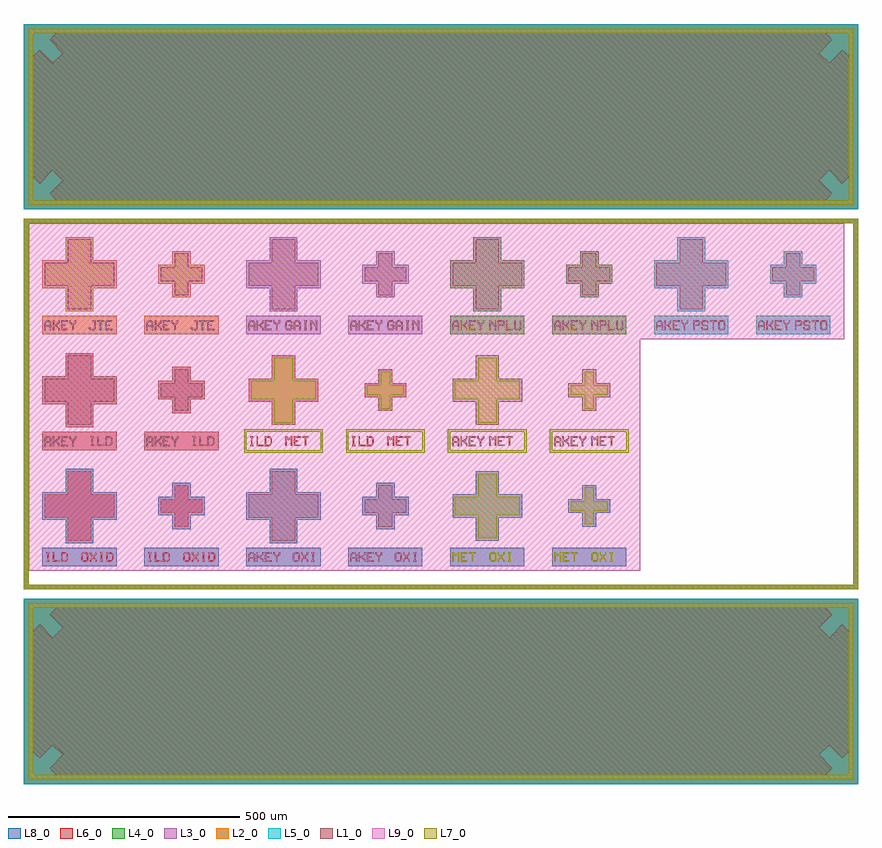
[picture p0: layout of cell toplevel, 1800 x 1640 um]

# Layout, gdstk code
import gdstk
lib = gdstk.Library(unit=1e-6, precision=1e-09)
def R(c, l, rs):  # rectangles x0, y0, x1, y1
    for r in rs: c.add(gdstk.rectangle(r[:2], r[2:], *l))
def A(c, l, x, y, w, h, nx, ny, dx, dy):  # array of equal rectangles
    R(c, l, [(x+i*dx, y+j*dy, x+i*dx+w, y+j*dy+h) for i in range(nx) for j in range(ny)])
def P(c, l, *ps):  # polygons
    for p in ps: c.add(gdstk.Polygon(p, *l))
L1_0 = (1, 0)
L2_0 = (2, 0)
L3_0 = (3, 0)
L4_0 = (4, 0)
L5_0 = (5, 0)
L6_0 = (6, 0)
L7_0 = (7, 0)
L8_0 = (8, 0)
L9_0 = (9, 0)

text_7 = lib.new_cell('TEXT$7')
P(text_7, L1_0, [(3,0),(0,3),(0,6),(3,6),(3,4.5),(4.5,3),(10.5,3),(12,4.5),(12,18),(9,18),(9,21),(15,21),(15,3),(12,0)],
  [(24,0),(24,18),(18,18),(18,21),(33,21),(33,18),(27,18),(27,0)],
  [(36,0),(36,21),(51,21),(51,18),(39,18),(39,12),(45,12),(45,9),(39,9),(39,3),(51,3),(51,0)])

text_20 = lib.new_cell('TEXT$20')
P(text_20, L1_0, [(3,0),(0,3),(0,18),(3,21),(12,21),(15,18),(15,10.5),(12,10.5),(12,16.5),(10.5,18),(4.5,18),(3,16.5),(3,4.5),(4.5,3),(10.5,3),(12,4.5),(12,10.5),(15,10.5),(15,3),(12,0)],
  [(18,0),(18,4.5),(22.5,9),(22.5,12),(18,16.5),(18,21),(21,21),(21,18),(25.5,13.5),(30,18),(30,21),(33,21),(33,16.5),(28.5,12),(28.5,9),(33,4.5),(33,0),(30,0),(30,3),(25.5,7.5),(21,3),(21,0)],
  [(40.5,0),(40.5,3),(42,3),(42,18),(40.5,18),(40.5,21),(46.5,21),(46.5,18),(45,18),(45,3),(46.5,3),(46.5,0)])

text_1 = lib.new_cell('TEXT$1')
P(text_1, L1_0, [(4.5,0),(4.5,3),(6,3),(6,18),(4.5,18),(4.5,21),(10.5,21),(10.5,18),(9,18),(9,3),(10.5,3),(10.5,0)],
  [(18,0),(18,21),(21,21),(21,3),(33,3),(33,0)],
  [(36,0),(36,21),(46.5,21),(49.5,18),(39,18),(39,3),(45,3),(48,6),(48,15),(45,18),(49.5,18),(51,16.5),(51,4.5),(46.5,0)])

text_21 = lib.new_cell('TEXT$21')
P(text_21, L1_0, [(0,0),(0,21),(3,21),(6,18),(9,18),(12,21),(15,21),(15,0),(12,0),(12,15),(10.5,15),(7.5,12),(4.5,15),(3,15),(3,0)],
  [(18,0),(18,21),(33,21),(33,18),(21,18),(21,12),(27,12),(27,9),(21,9),(21,3),(33,3),(33,0)],
  [(42,0),(42,18),(36,18),(36,21),(51,21),(51,18),(45,18),(45,0)])

text_6 = lib.new_cell('TEXT$6')
P(text_6, L1_0, [(0,0),(0,21),(12,21),(15,18),(15,12),(12,9),(3,9),(3,12),(10.5,12),(12,13.5),(12,16.5),(10.5,18),(3,18),(3,0)],
  [(21,0),(18,3),(18,6),(21,6),(21,4.5),(22.5,3),(28.5,3),(30,4.5),(30,7.5),(28.5,9),(21,9),(18,12),(18,18),(21,21),(30,21),(33,18),(33,15),(30,15),(30,16.5),(28.5,18),(22.5,18),(21,16.5),(21,13.5),(22.5,12),(30,12),(33,9),(33,3),(30,0)],
  [(42,0),(42,18),(36,18),(36,21),(51,21),(51,18),(45,18),(45,0)],
  [(57,0),(54,3),(54,18),(57,21),(66,21),(69,18),(69,10.5),(66,10.5),(66,16.5),(64.5,18),(58.5,18),(57,16.5),(57,4.5),(58.5,3),(64.5,3),(66,4.5),(66,10.5),(69,10.5),(69,3),(66,0)])

text_5 = lib.new_cell('TEXT$5')
P(text_5, L1_0, [(0,0),(0,21),(3,21),(10.5,13.5),(12,13.5),(12,21),(15,21),(15,0),(12,0),(12,7.5),(4.5,15),(3,15),(3,0)],
  [(18,0),(18,21),(30,21),(33,18),(33,12),(30,9),(21,9),(21,12),(28.5,12),(30,13.5),(30,16.5),(28.5,18),(21,18),(21,0)],
  [(36,0),(36,21),(39,21),(39,3),(51,3),(51,0)],
  [(57,0),(54,3),(54,21),(57,21),(57,4.5),(58.5,3),(64.5,3),(66,4.5),(66,21),(69,21),(69,3),(66,0)])

text_4 = lib.new_cell('TEXT$4')
P(text_4, L1_0, [(3,0),(0,3),(0,18),(3,21),(12,21),(15,18),(15,15),(12,15),(12,16.5),(10.5,18),(4.5,18),(3,16.5),(3,4.5),(4.5,3),(10.5,3),(12,4.5),(12,9),(7.5,9),(7.5,12),(15,12),(15,3),(12,0)],
  [(18,0),(18,16.5),(22.5,21),(28.5,21),(31.5,18),(24,18),(21,15),(21,10.5),(30,10.5),(30,15),(27,18),(31.5,18),(33,16.5),(33,0),(30,0),(30,7.5),(21,7.5),(21,0)],
  [(40.5,0),(40.5,3),(42,3),(42,18),(40.5,18),(40.5,21),(46.5,21),(46.5,18),(45,18),(45,3),(46.5,3),(46.5,0)],
  [(54,0),(54,21),(57,21),(64.5,13.5),(66,13.5),(66,21),(69,21),(69,0),(66,0),(66,7.5),(58.5,15),(57,15),(57,0)])

text_16 = lib.new_cell('TEXT$16')
P(text_16, L6_0, [(3,0),(0,3),(0,18),(3,21),(12,21),(15,18),(15,10.5),(12,10.5),(12,16.5),(10.5,18),(4.5,18),(3,16.5),(3,4.5),(4.5,3),(10.5,3),(12,4.5),(12,10.5),(15,10.5),(15,3),(12,0)],
  [(18,0),(18,4.5),(22.5,9),(22.5,12),(18,16.5),(18,21),(21,21),(21,18),(25.5,13.5),(30,18),(30,21),(33,21),(33,16.5),(28.5,12),(28.5,9),(33,4.5),(33,0),(30,0),(30,3),(25.5,7.5),(21,3),(21,0)],
  [(40.5,0),(40.5,3),(42,3),(42,18),(40.5,18),(40.5,21),(46.5,21),(46.5,18),(45,18),(45,3),(46.5,3),(46.5,0)],
  [(54,0),(54,21),(64.5,21),(67.5,18),(57,18),(57,3),(63,3),(66,6),(66,15),(63,18),(67.5,18),(69,16.5),(69,4.5),(64.5,0)])

text = lib.new_cell('TEXT')
P(text, L6_0, [(4.5,0),(4.5,3),(6,3),(6,18),(4.5,18),(4.5,21),(10.5,21),(10.5,18),(9,18),(9,3),(10.5,3),(10.5,0)],
  [(18,0),(18,21),(21,21),(21,3),(33,3),(33,0)],
  [(36,0),(36,21),(46.5,21),(49.5,18),(39,18),(39,3),(45,3),(48,6),(48,15),(45,18),(49.5,18),(51,16.5),(51,4.5),(46.5,0)])

text_22 = lib.new_cell('TEXT$22')
P(text_22, L6_0, [(0,0),(0,21),(3,21),(6,18),(9,18),(12,21),(15,21),(15,0),(12,0),(12,15),(10.5,15),(7.5,12),(4.5,15),(3,15),(3,0)],
  [(18,0),(18,21),(33,21),(33,18),(21,18),(21,12),(27,12),(27,9),(21,9),(21,3),(33,3),(33,0)],
  [(42,0),(42,18),(36,18),(36,21),(51,21),(51,18),(45,18),(45,0)])

text_25 = lib.new_cell('TEXT$25')
P(text_25, L7_0, [(3,0),(0,3),(0,18),(3,21),(12,21),(15,18),(15,10.5),(12,10.5),(12,16.5),(10.5,18),(4.5,18),(3,16.5),(3,4.5),(4.5,3),(10.5,3),(12,4.5),(12,10.5),(15,10.5),(15,3),(12,0)],
  [(18,0),(18,4.5),(22.5,9),(22.5,12),(18,16.5),(18,21),(21,21),(21,18),(25.5,13.5),(30,18),(30,21),(33,21),(33,16.5),(28.5,12),(28.5,9),(33,4.5),(33,0),(30,0),(30,3),(25.5,7.5),(21,3),(21,0)],
  [(40.5,0),(40.5,3),(42,3),(42,18),(40.5,18),(40.5,21),(46.5,21),(46.5,18),(45,18),(45,3),(46.5,3),(46.5,0)])

text_23 = lib.new_cell('TEXT$23')
P(text_23, L7_0, [(0,0),(0,21),(3,21),(6,18),(9,18),(12,21),(15,21),(15,0),(12,0),(12,15),(10.5,15),(7.5,12),(4.5,15),(3,15),(3,0)],
  [(18,0),(18,21),(33,21),(33,18),(21,18),(21,12),(27,12),(27,9),(21,9),(21,3),(33,3),(33,0)],
  [(42,0),(42,18),(36,18),(36,21),(51,21),(51,18),(45,18),(45,0)])

text_2 = lib.new_cell('TEXT$2')
P(text_2, L1_0, [(0,0),(0,16.5),(4.5,21),(10.5,21),(13.5,18),(6,18),(3,15),(3,10.5),(12,10.5),(12,15),(9,18),(13.5,18),(15,16.5),(15,0),(12,0),(12,7.5),(3,7.5),(3,0)],
  [(18,0),(18,21),(21,21),(21,12),(24,12),(30,18),(30,21),(33,21),(33,16.5),(27,10.5),(33,4.5),(33,0),(30,0),(30,3),(24,9),(21,9),(21,0)],
  [(36,0),(36,21),(51,21),(51,18),(39,18),(39,12),(45,12),(45,9),(39,9),(39,3),(51,3),(51,0)],
  [(60,0),(60,10.5),(54,16.5),(54,21),(57,21),(57,18),(61.5,13.5),(66,18),(66,21),(69,21),(69,16.5),(63,10.5),(63,0)])

toplevel = lib.new_cell('toplevel')
P(toplevel, L1_0, [(-805,205),(-805,255),(-855,255),(-855,305),(-805,305),(-805,355),(-755,355),(-755,305),(-705,305),(-705,255),(-755,255),(-755,205)],
  [(-900,-400),(-900,390),(-890,390),(-890,-390),(890,-390),(890,390),(-900,390),(-900,400),(900,400),(900,-400)],
  [(-575,235),(-575,265),(-605,265),(-605,295),(-575,295),(-575,325),(-545,325),(-545,295),(-515,295),(-515,265),(-545,265),(-545,235)],
  [(-365,205),(-365,255),(-415,255),(-415,305),(-365,305),(-365,355),(-315,355),(-315,305),(-265,305),(-265,255),(-315,255),(-315,205)],
  [(-135,235),(-135,265),(-165,265),(-165,295),(-135,295),(-135,325),(-105,325),(-105,295),(-75,295),(-75,265),(-105,265),(-105,235)],
  [(75,205),(75,255),(25,255),(25,305),(75,305),(75,355),(125,355),(125,305),(175,305),(175,255),(125,255),(125,205)],
  [(305,235),(305,265),(275,265),(275,295),(305,295),(305,325),(335,325),(335,295),(365,295),(365,265),(335,265),(335,235)],
  [(515,205),(515,255),(465,255),(465,305),(515,305),(515,355),(565,355),(565,305),(615,305),(615,255),(565,255),(565,205)],
  [(745,235),(745,265),(715,265),(715,295),(745,295),(745,325),(775,325),(775,295),(805,295),(805,265),(775,265),(775,235)],
  [(305,-15),(305,15),(275,15),(275,45),(305,45),(305,75),(335,75),(335,45),(365,45),(365,15),(335,15),(335,-15)],
  [(75,-45),(75,5),(25,5),(25,55),(75,55),(75,105),(125,105),(125,55),(175,55),(175,5),(125,5),(125,-45)],
  [(-135,-265),(-135,-235),(-165,-235),(-165,-205),(-135,-205),(-135,-175),(-105,-175),(-105,-205),(-75,-205),(-75,-235),(-105,-235),(-105,-265)],
  [(-365,-295),(-365,-245),(-415,-245),(-415,-195),(-365,-195),(-365,-145),(-315,-145),(-315,-195),(-265,-195),(-265,-245),(-315,-245),(-315,-295)],
  [(-575,-15),(-575,15),(-605,15),(-605,45),(-575,45),(-575,75),(-545,75),(-545,45),(-515,45),(-515,15),(-545,15),(-545,-15)],
  [(-805,-45),(-805,5),(-855,5),(-855,55),(-805,55),(-805,105),(-755,105),(-755,55),(-705,55),(-705,5),(-755,5),(-755,-45)],
  [(-890,-810),(-890,-736.109),(-837.322,-736.109),(-865.607,-764.394),(-880,-750),(-880,-800),(-830,-800),(-844.393,-785.607),(-816.109,-757.322),(-837.322,-736.109),(837.323,-736.109),(816.109,-757.322),(844.393,-785.607),(830,-800),(880,-800),(880,-750),(865.607,-764.393),(837.323,-736.109),(-890,-736.109),(-890,-440),(-880,-440),(-880,-490),(-865.606,-475.606),(-837.322,-503.891),(-816.109,-482.678),(-844.393,-454.393),(-830,-440),(830,-440),(844.393,-454.394),(816.109,-482.678),(837.323,-503.891),(865.607,-475.607),(880,-490),(880,-440),(-890,-440),(-890,-430),(890,-430),(890,-810)],
  [(-890,430),(-890,503.891),(-837.322,503.891),(-865.607,475.606),(-880,490),(-880,440),(-830,440),(-844.393,454.393),(-816.109,482.678),(-837.322,503.891),(837.323,503.891),(816.109,482.678),(844.393,454.393),(830,440),(880,440),(880,490),(865.607,475.607),(837.323,503.891),(-890,503.891),(-890,800),(-880,800),(-880,750),(-865.606,764.394),(-837.322,736.109),(-816.109,757.322),(-844.393,785.607),(-830,800),(830,800),(844.393,785.606),(816.109,757.322),(837.323,736.109),(865.607,764.393),(880,750),(880,800),(-890,800),(-890,810),(890,810),(890,430)])
R(toplevel, L2_0, [(-900,-820,900,-420), (-860,150,-700,190), (-640,150,-480,190), (-900,420,900,820)])
P(toplevel, L2_0, [(-580,230),(-580,260),(-610,260),(-610,300),(-580,300),(-580,330),(-540,330),(-540,300),(-510,300),(-510,260),(-540,260),(-540,230)],
  [(-810,200),(-810,250),(-860,250),(-860,310),(-810,310),(-810,360),(-750,360),(-750,310),(-700,310),(-700,250),(-750,250),(-750,200)],
  [(-900,-400),(-900,390),(-890,390),(-890,-390),(890,-390),(890,390),(-900,390),(-900,400),(900,400),(900,-400)])
R(toplevel, L3_0, [(-900,-820,900,-420), (-420,150,-260,190), (-200,150,-40,190), (-900,420,900,820)])
P(toplevel, L3_0, [(-140,230),(-140,260),(-170,260),(-170,300),(-140,300),(-140,330),(-100,330),(-100,300),(-70,300),(-70,260),(-100,260),(-100,230)],
  [(-370,200),(-370,250),(-420,250),(-420,310),(-370,310),(-370,360),(-310,360),(-310,310),(-260,310),(-260,250),(-310,250),(-310,200)],
  [(-900,-400),(-900,390),(-890,390),(-890,-390),(890,-390),(890,390),(-900,390),(-900,400),(900,400),(900,-400)])
R(toplevel, L4_0, [(-900,-820,900,-420), (20,150,180,190), (240,150,400,190), (-900,420,900,820)])
P(toplevel, L4_0, [(300,230),(300,260),(270,260),(270,300),(300,300),(300,330),(340,330),(340,300),(370,300),(370,260),(340,260),(340,230)],
  [(70,200),(70,250),(20,250),(20,310),(70,310),(70,360),(130,360),(130,310),(180,310),(180,250),(130,250),(130,200)],
  [(-900,-400),(-900,390),(-890,390),(-890,-390),(890,-390),(890,390),(-900,390),(-900,400),(900,400),(900,-400)])
R(toplevel, L5_0, [(-900,-820,900,-420), (460,150,620,190), (680,150,840,190), (-900,420,900,820)])
P(toplevel, L5_0, [(740,230),(740,260),(710,260),(710,300),(740,300),(740,330),(780,330),(780,300),(810,300),(810,260),(780,260),(780,230)],
  [(510,200),(510,250),(460,250),(460,310),(510,310),(510,360),(570,360),(570,310),(620,310),(620,250),(570,250),(570,200)],
  [(-900,-400),(-900,390),(-890,390),(-890,-390),(890,-390),(890,390),(-900,390),(-900,400),(900,400),(900,-400)])
R(toplevel, L6_0, [(-900,-820,900,-420), (-860,-100,-700,-60), (-640,-100,-480,-60), (-900,420,900,820)])
P(toplevel, L6_0, [(-575,-265),(-575,-235),(-605,-235),(-605,-205),(-575,-205),(-575,-175),(-545,-175),(-545,-205),(-515,-205),(-515,-235),(-545,-235),(-545,-265)],
  [(-805,-295),(-805,-245),(-855,-245),(-855,-195),(-805,-195),(-805,-145),(-755,-145),(-755,-195),(-705,-195),(-705,-245),(-755,-245),(-755,-295)],
  [(-135,-15),(-135,15),(-165,15),(-165,45),(-135,45),(-135,75),(-105,75),(-105,45),(-75,45),(-75,15),(-105,15),(-105,-15)],
  [(-580,-20),(-580,10),(-610,10),(-610,50),(-580,50),(-580,80),(-540,80),(-540,50),(-510,50),(-510,10),(-540,10),(-540,-20)],
  [(-365,-45),(-365,5),(-415,5),(-415,55),(-365,55),(-365,105),(-315,105),(-315,55),(-265,55),(-265,5),(-315,5),(-315,-45)],
  [(-810,-50),(-810,0),(-860,0),(-860,60),(-810,60),(-810,110),(-750,110),(-750,60),(-700,60),(-700,0),(-750,0),(-750,-50)],
  [(-900,-400),(-900,390),(-890,390),(-890,-390),(890,-390),(890,390),(-900,390),(-900,400),(900,400),(900,-400)])
P(toplevel, L7_0, [(-900,-400),(-900,390),(-890,390),(-890,-390),(890,-390),(890,390),(-900,390),(-900,400),(900,400),(900,-400)],
  [(310,-260),(310,-230),(280,-230),(280,-210),(310,-210),(310,-180),(330,-180),(330,-210),(360,-210),(360,-230),(330,-230),(330,-260)],
  [(80,-290),(80,-240),(30,-240),(30,-200),(80,-200),(80,-150),(120,-150),(120,-200),(170,-200),(170,-240),(120,-240),(120,-290)],
  [(-425,-105),(-425,-60),(-420,-60),(-420,-100),(-260,-100),(-260,-60),(-425,-60),(-425,-55),(-255,-55),(-255,-105)],
  [(-205,-105),(-205,-60),(-200,-60),(-200,-100),(-40,-100),(-40,-60),(-205,-60),(-205,-55),(-35,-55),(-35,-105)],
  [(15,-105),(15,-60),(20,-60),(20,-100),(180,-100),(180,-60),(15,-60),(15,-55),(185,-55),(185,-105)],
  [(235,-105),(235,-60),(240,-60),(240,-100),(400,-100),(400,-60),(235,-60),(235,-55),(405,-55),(405,-105)],
  [(-130,-10),(-130,20),(-160,20),(-160,40),(-130,40),(-130,70),(-110,70),(-110,40),(-80,40),(-80,20),(-110,20),(-110,-10)],
  [(310,-10),(310,20),(280,20),(280,40),(310,40),(310,70),(330,70),(330,40),(360,40),(360,20),(330,20),(330,-10)],
  [(-360,-40),(-360,10),(-410,10),(-410,50),(-360,50),(-360,100),(-320,100),(-320,50),(-270,50),(-270,10),(-320,10),(-320,-40)],
  [(80,-40),(80,10),(30,10),(30,50),(80,50),(80,100),(120,100),(120,50),(170,50),(170,10),(120,10),(120,-40)],
  [(-890,430),(-890,800),(-880,800),(-880,440),(880,440),(880,800),(-890,800),(-890,810),(890,810),(890,430)],
  [(-890,-810),(-890,-440),(-880,-440),(-880,-800),(880,-800),(880,-440),(-890,-440),(-890,-430),(890,-430),(890,-810)])
A(toplevel, L8_0, -860, -350, 160, 40, 6, 1, 220, 0)
R(toplevel, L8_0, [(-900,-820,900,-420), (-900,420,900,820)])
P(toplevel, L8_0, [(-900,-400),(-900,390),(-890,390),(-890,-390),(890,-390),(890,390),(-900,390),(-900,400),(900,400),(900,-400)],
  [(305,-265),(305,-235),(275,-235),(275,-205),(305,-205),(305,-175),(335,-175),(335,-205),(365,-205),(365,-235),(335,-235),(335,-265)],
  [(-580,-270),(-580,-240),(-610,-240),(-610,-200),(-580,-200),(-580,-170),(-540,-170),(-540,-200),(-510,-200),(-510,-240),(-540,-240),(-540,-270)],
  [(-140,-270),(-140,-240),(-170,-240),(-170,-200),(-140,-200),(-140,-170),(-100,-170),(-100,-200),(-70,-200),(-70,-240),(-100,-240),(-100,-270)],
  [(75,-295),(75,-245),(25,-245),(25,-195),(75,-195),(75,-145),(125,-145),(125,-195),(175,-195),(175,-245),(125,-245),(125,-295)],
  [(-810,-300),(-810,-250),(-860,-250),(-860,-190),(-810,-190),(-810,-140),(-750,-140),(-750,-190),(-700,-190),(-700,-250),(-750,-250),(-750,-300)],
  [(-370,-300),(-370,-250),(-420,-250),(-420,-190),(-370,-190),(-370,-140),(-310,-140),(-310,-190),(-260,-190),(-260,-250),(-310,-250),(-310,-300)])
A(toplevel, L9_0, -890, -360, 220, 250, 6, 2, 220, 250)
A(toplevel, L9_0, -890, 140, 220, 250, 8, 1, 220, 0)
toplevel.add(gdstk.Reference(text_7, (-759.964,159.371)))
toplevel.add(gdstk.Reference(text_7, (-539.964,159.371)))
toplevel.add(gdstk.Reference(text_20, (-99.964,-340.629)))
toplevel.add(gdstk.Reference(text_20, (-319.964,-340.629)))
toplevel.add(gdstk.Reference(text_1, (-539.964,-90.629)))
toplevel.add(gdstk.Reference(text_21, (324.097,-90.629)))
toplevel.add(gdstk.Reference(text_21, (104.097,-90.629)))
toplevel.add(gdstk.Reference(text_1, (-759.964,-90.629)))
toplevel.add(gdstk.Reference(text_6, (764.097,159.371)))
toplevel.add(gdstk.Reference(text_6, (544.097,159.371)))
toplevel.add(gdstk.Reference(text_5, (324.097,159.371)))
toplevel.add(gdstk.Reference(text_5, (104.097,159.371)))
toplevel.add(gdstk.Reference(text_4, (-115.903,159.371)))
toplevel.add(gdstk.Reference(text_4, (-335.903,159.371)))
toplevel.add(gdstk.Reference(text_16, (-555.903,-340.629)))
toplevel.add(gdstk.Reference(text, (-635.907,-340.67)))
toplevel.add(gdstk.Reference(text_16, (-775.903,-340.629)))
toplevel.add(gdstk.Reference(text, (-855.907,-340.67)))
toplevel.add(gdstk.Reference(text_22, (-115.903,-90.629)))
toplevel.add(gdstk.Reference(text, (-195.907,-90.67)))
toplevel.add(gdstk.Reference(text, (-415.907,-90.67)))
toplevel.add(gdstk.Reference(text_25, (324.097,-340.629)))
toplevel.add(gdstk.Reference(text_23, (244.093,-340.67)))
toplevel.add(gdstk.Reference(text_25, (104.097,-340.629)))
toplevel.add(gdstk.Reference(text_23, (24.093,-340.67)))
toplevel.add(gdstk.Reference(text_2, (-855.907,159.33)))
toplevel.add(gdstk.Reference(text_2, (-635.907,159.33)))
toplevel.add(gdstk.Reference(text_2, (-195.907,-340.67)))
toplevel.add(gdstk.Reference(text_2, (-415.907,-340.67)))
toplevel.add(gdstk.Reference(text_2, (244.093,-90.67)))
toplevel.add(gdstk.Reference(text_2, (24.093,-90.67)))
toplevel.add(gdstk.Reference(text_2, (-635.907,-90.67)))
toplevel.add(gdstk.Reference(text_2, (-855.907,-90.67)))
toplevel.add(gdstk.Reference(text_2, (684.093,159.33)))
toplevel.add(gdstk.Reference(text_2, (464.093,159.33)))
toplevel.add(gdstk.Reference(text_2, (244.093,159.33)))
toplevel.add(gdstk.Reference(text_2, (24.093,159.33)))
toplevel.add(gdstk.Reference(text_2, (-195.907,159.33)))
toplevel.add(gdstk.Reference(text_2, (-415.907,159.33)))
toplevel.add(gdstk.Reference(text_22, (-335.903,-90.629)))

lib.write_gds('toplevel.gds')
